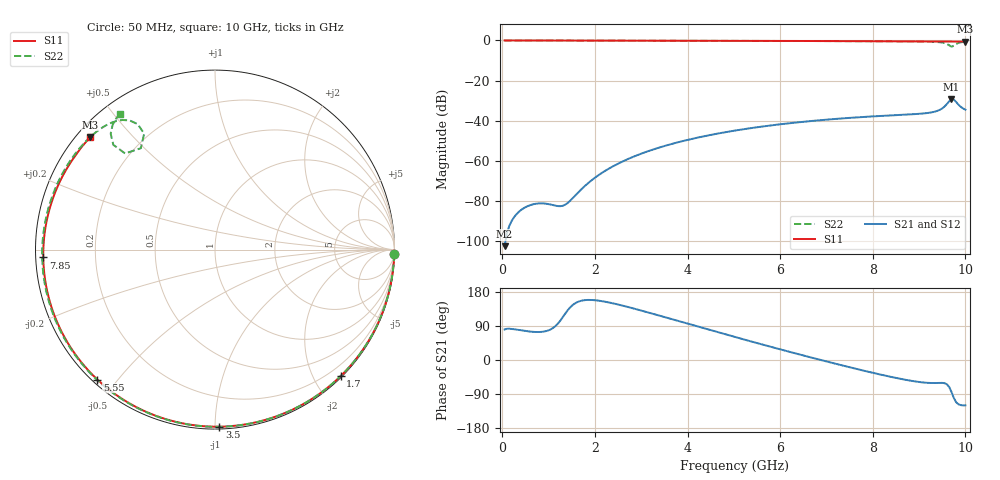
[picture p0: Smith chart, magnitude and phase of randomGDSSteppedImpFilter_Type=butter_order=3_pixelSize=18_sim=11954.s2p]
! freq	dB(S11)	phase(S11)	dB(S12)	phase(S12)
!  dB(S21)	phase(S21)	dB(S22)	phase(S22)
!S-par simulation data
#  GHz  S  DB  R 50
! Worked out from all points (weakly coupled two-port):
!   200 points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, 50 MHz to 10 GHz, reference 50 ohm
!   highest |S21| = -29.27 dB at 9.7 GHz (marker M1); lowest = -102.5 dB at 50 MHz (marker M2)
!   lowest |S11| = -0.6 dB at 10 GHz (marker M3), VSWR 29.82, Z = 1.93 + j19.2 ohm
!   |S11| at or under -10 dB: nowhere
!   |S22| runs from -3.1 to 0.0 dB; largest |S21 - S12| = 0
!   S11 on the Smith chart (normalised r, x): 50 MHz: 2, -87; 1.7 GHz: 0.02, -2.40; 3.5 GHz: 0.01, -1.02; 5.55 GHz: 0.01, -0.44; 7.85 GHz: 0.02, -0.02; 10 GHz: 0.04, +0.38
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0.05  -0.00 -1.3  -102.47 80.5  -102.47 80.5  -0.01 -1.5
0.7  -0.02 -18.9  -81.44 74.0  -81.44 74.0  -0.03 -21.2
1.45  -0.05 -38.7  -80.18 136.8  -80.18 136.8  -0.05 -43.2
1.7  -0.06 -45.2  -74.31 156.2  -74.31 156.2  -0.06 -50.3
1.75  -0.06 -46.5  -73.20 157.4  -73.20 157.4  -0.06 -51.8
2.05  -0.07 -54.0  -67.54 157.1  -67.54 157.1  -0.07 -60.1
2.45  -0.08 -63.9  -61.97 147.9  -61.97 147.9  -0.09 -70.9
3.4  -0.11 -86.3  -53.27 116.8  -53.27 116.8  -0.12 -95.3
3.5  -0.11 -88.6  -52.58 113.4  -52.58 113.4  -0.12 -97.7
4.25  -0.14 -105.2  -48.24 87.3  -48.24 87.3  -0.15 -115.4
5.05  -0.18 -122.0  -44.79 59.8  -44.79 59.8  -0.19 -133.4
5.55  -0.21 -132.1  -43.08 43.0  -43.08 43.0  -0.21 -144.2
6.7  -0.28 -154.8  -40.07 5.6  -40.07 5.6  -0.29 -168.4
7.85  -0.37 -177.4  -38.04 -29.5  -38.04 -29.5  -0.38 167.1
8.35  -0.42 172.6  -37.38 -43.4  -37.38 -43.4  -0.43 156.1
9.35  -0.52 152.0  -35.40 -60.8  -35.40 -60.8  -0.73 130.9
9.55  -0.55 147.7  -32.91 -61.2  -32.91 -61.2  -1.28 123.5
9.65  -0.56 145.6  -30.28 -71.2  -30.28 -71.2  -2.42 121.4
9.7  -0.56 144.6  -29.27 -84.4  -29.27 -84.4  -3.10 126.2
9.75  -0.56 143.5  -29.47 -100.1  -29.47 -100.1  -2.70 133.1
9.8  -0.56 142.4  -30.64 -111.3  -30.64 -111.3  -1.79 134.1
10  -0.58 137.9  -34.48 -119.7  -34.48 -119.7  -0.69 124.9
